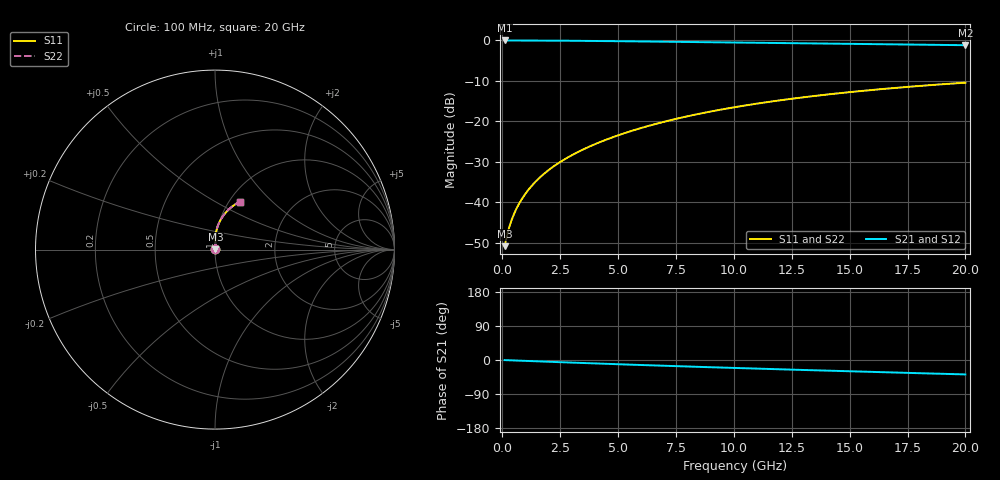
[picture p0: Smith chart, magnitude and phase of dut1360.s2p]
! Touchstone file exported from HFSS 2024.1.0
!  File:  C:/UserFiles/LocalFiles/RDL_TSV_Batchsim/temp_RDL_top_1360_1780366541.aedt
!  Generated:  10:17:46 AM Jun  2, 2026
!  Design:  RDL_top
!  Project:  temp_RDL_top_1360_1780366541
!  Setup:  Setup1
!  Solution:  Sweep
! Variables:
!  dtsv = 10.80580581um
!  hbump = 3um
!  htsv = 91.79um
!  ldown = 100um
!  lrdl = 560.22um
!  p = 40
!  p1 = 49.12um
!  rhole = 1um
!  t = 450um
!  tdown = 3.915915916um
!  trdl = 3.38um
!  wdown = 15.38538539um
!  wrdl = 26.46um
# GHz S MA R 50.000000
! Terminal data exported
! Port[1] = Box2_T1
! Port[2] = Box2_T2
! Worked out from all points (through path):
!   200 points, 100 MHz to 20 GHz, reference 50 ohm
!   highest |S21| = -0.02 dB at 100 MHz (marker M1); lowest = -1.2 dB at 20 GHz (marker M2)
!   group delay of S21, straight-line fit = 5.22 ps
!   lowest |S11| = -50.8 dB at 100 MHz (marker M3), VSWR 1.01, Z = 50.2 + j0.146 ohm
!   |S11| at or under -10 dB: start of sweep to end of sweep
!   |S22| runs from -50.8 to -10.4 dB; largest |S21 - S12| = 3e-15
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0.1  0.00287 30.5  0.9975 -0.2  0.9975 -0.2  0.00287 30.5
! Gamma 0 0 0 0
! Port Impedance 50 0 50 0
0.2  0.003852 46.9  0.9973 -0.5  0.9973 -0.5  0.003852 46.9
0.3  0.004928 55.6  0.9971 -0.7  0.9971 -0.7  0.004928 55.6
0.4  0.006011 61.2  0.9969 -1.0  0.9969 -1.0  0.006011 61.2
0.5  0.0071 65.3  0.9967 -1.2  0.9967 -1.2  0.0071 65.3
0.6  0.008202 68.5  0.9965 -1.4  0.9965 -1.4  0.008202 68.5
0.8  0.01045 73.2  0.9962 -1.9  0.9962 -1.9  0.01045 73.2
1  0.01277 76.5  0.9958 -2.3  0.9958 -2.3  0.01277 76.5
1.2  0.01513 78.9  0.9954 -2.8  0.9954 -2.8  0.01513 78.9
1.7  0.02122 82.7  0.994 -3.9  0.994 -3.9  0.02122 82.7
2.2  0.02754 85.0  0.9923 -5.1  0.9923 -5.1  0.02753 85.0
2.8  0.03542 86.6  0.9897 -6.4  0.9897 -6.4  0.03542 86.6
3.5  0.04504 87.7  0.9862 -8.0  0.9862 -8.0  0.04504 87.7
4.2  0.05511 88.2  0.9821 -9.5  0.9821 -9.5  0.05511 88.2
5  0.06713 88.2  0.977 -11.2  0.977 -11.2  0.06712 88.2
6.8  0.0957 86.7  0.9645 -14.8  0.9645 -14.8  0.0957 86.7
8.4  0.1222 84.4  0.9528 -18.0  0.9528 -18.0  0.1222 84.4
10.1  0.1506 81.4  0.9404 -21.1  0.9404 -21.1  0.1506 81.4
11.7  0.1771 78.4  0.9289 -24.0  0.9289 -24.0  0.177 78.4
13.4  0.2045 75.1  0.9169 -27.0  0.9169 -27.0  0.2045 75.1
16.7  0.2548 68.7  0.8941 -32.7  0.8941 -32.7  0.2548 68.7
20  0.3004 62.7  0.8717 -38.1  0.8717 -38.1  0.3004 62.7
